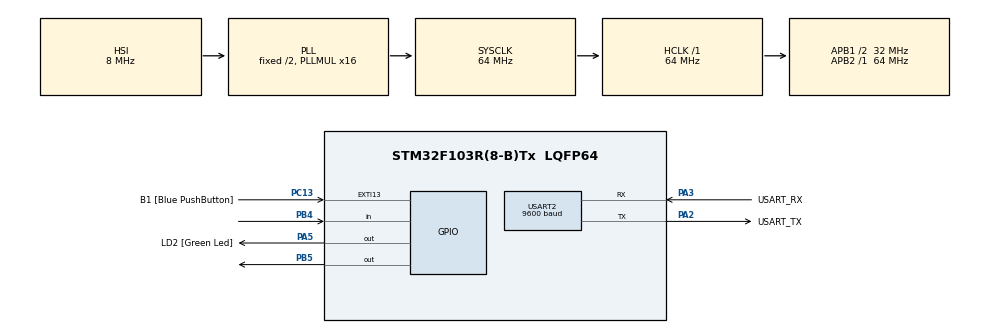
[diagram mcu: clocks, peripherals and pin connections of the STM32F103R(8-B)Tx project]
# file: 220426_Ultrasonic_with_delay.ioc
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Mcu.Family=STM32F1
Mcu.Name=STM32F103R(8-B)Tx
Mcu.Package=LQFP64
NVIC.EXTI15_10_IRQn=true\:0\:0\:false\:false\:true\:true\:true\:true
NVIC.PriorityGroup=NVIC_PRIORITYGROUP_4
PA13.GPIO_Label=TMS
PA13.Mode=Serial_Wire
PA13.Signal=SYS_JTMS-SWDIO
PA14.GPIO_Label=TCK
PA14.Mode=Serial_Wire
PA14.Signal=SYS_JTCK-SWCLK
PA2.GPIO_Label=USART_TX
PA2.GPIO_Mode=GPIO_MODE_AF_PP
PA2.GPIO_PuPd=GPIO_NOPULL
PA2.GPIO_Speed=GPIO_SPEED_FREQ_LOW
PA2.Mode=Asynchronous
PA2.Signal=USART2_TX
PA3.GPIO_Label=USART_RX
PA3.GPIO_Mode=GPIO_MODE_AF_PP
PA3.GPIO_PuPd=GPIO_NOPULL
PA3.GPIO_Speed=GPIO_SPEED_FREQ_LOW
PA3.Mode=Asynchronous
PA3.Signal=USART2_RX
PA5.GPIO_Label=LD2 [Green Led]
PA5.GPIO_ModeDefaultOutputPP=GPIO_MODE_OUTPUT_PP
PA5.GPIO_PuPd=GPIO_NOPULL
PA5.GPIO_Speed=GPIO_SPEED_FREQ_LOW
PA5.Signal=GPIO_Output
PB3.GPIO_Label=SWO
PB3.Signal=SYS_JTDO-TRACESWO
PB4.Signal=GPIO_Input
PB5.Signal=GPIO_Output
PC13-TAMPER-RTC.GPIO_Label=B1 [Blue PushButton]
PC13-TAMPER-RTC.GPIO_PuPd=GPIO_NOPULL
PC13-TAMPER-RTC.Signal=GPXTI13
PC14-OSC32_IN.Mode=LSE-External-Oscillator
PC14-OSC32_IN.Signal=RCC_OSC32_IN
PC15-OSC32_OUT.Mode=LSE-External-Oscillator
PC15-OSC32_OUT.Signal=RCC_OSC32_OUT
PD0-OSC_IN.Mode=HSE-External-Clock-Source
PD0-OSC_IN.Signal=RCC_OSC_IN
PD1-OSC_OUT.Mode=HSE-External-Clock-Source
PD1-OSC_OUT.Signal=RCC_OSC_OUT
ProjectManager.HeapSize=0x200
ProjectManager.StackSize=0x400
ProjectManager.TargetToolchain=STM32CubeIDE
RCC.AHBFreq_Value=64000000
RCC.APB1CLKDivider=RCC_HCLK_DIV2
RCC.APB1Freq_Value=32000000
RCC.APB1TimFreq_Value=64000000
RCC.APB2Freq_Value=64000000
RCC.APB2TimFreq_Value=64000000
RCC.HCLKFreq_Value=64000000
RCC.PLLMUL=RCC_PLL_MUL16
RCC.RTCClockSelection=RCC_RTCCLKSOURCE_LSE
RCC.SYSCLKFreq_VALUE=64000000
RCC.SYSCLKSource=RCC_SYSCLKSOURCE_PLLCLK
RCC.USBFreq_Value=64000000
TIM2.Channel-Output\ Compare1\ No\ Output=TIM_CHANNEL_1
TIM2.Period=1000-1
TIM2.Prescaler=64
TIM2.Pulse-Output\ Compare1\ No\ Output=500-1
USART2.BaudRate=9600
USART2.VirtualMode=VM_ASYNC
VP_TIM2_VS_no_output1.Mode=Output Compare1 No Output
board=NUCLEO-F103RB

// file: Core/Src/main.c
/* USER CODE BEGIN Header */
/**
  ******************************************************************************
  * @file           : main.c
  * @brief          : Main program body
  ******************************************************************************
  * @attention
  *
  * Copyright (c) 2022 STMicroelectronics.
  * All rights reserved.
  *
  * This software is licensed under terms that can be found in the LICENSE file
  * in the root directory of this software component.
  * If no LICENSE file comes with this software, it is provided AS-IS.
  *
  ******************************************************************************
  */
/* USER CODE END Header */
#include "main.h"

/* USER CODE BEGIN PTD */
#ifdef __GNUC__
/* With GCC, small printf (option LD Linker->Libraries->Small printf
   set to 'Yes') calls __io_putchar() */
#define PUTCHAR_PROTOTYPE int __io_putchar(int ch)
#else
#define PUTCHAR_PROTOTYPE int fputc(int ch, FILE *f)
#endif /* __GNUC__ */
/* USER CODE END PTD */

 TIM_HandleTypeDef htim2;

UART_HandleTypeDef huart2;

void SystemClock_Config(void);
static void MX_GPIO_Init(void);
static void MX_USART2_UART_Init(void);
static void MX_TIM2_Init(void);

/* USER CODE BEGIN 0 */

void delay_us(uint16_t delay){
	__HAL_TIM_SET_COUNTER(&htim2,0);
	// htim2.Instance-> CNT = 0;
	while(__HAL_TIM_GET_COUNTER(&htim2)<delay);
	//while(	htim2.Instance-> CNT <delay);
}

int cnt = 0;

void ultraSonic(uint32_t GPIO_PIN){
	while(HAL_GPIO_ReadPin(GPIOB,GPIO_PIN)==GPIO_PIN_SET)
		cnt++;

	if(HAL_GPIO_ReadPin(GPIOB,GPIO_PIN)==GPIO_PIN_RESET && cnt>0){
		printf("time : %d\r\n",cnt);
		cnt = 0;
	}
}
/* USER CODE END 0 */

int main(void)
{

  /* MCU Configuration--------------------------------------------------------*/

  /* Reset of all peripherals, Initializes the Flash interface and the Systick. */
  HAL_Init();

  /* Configure the system clock */
  SystemClock_Config();

  /* Initialize all configured peripherals */
  MX_GPIO_Init();
  MX_USART2_UART_Init();
  MX_TIM2_Init();
  /* USER CODE BEGIN 2 */
  HAL_TIM_PWM_Start(&htim2, TIM_CHANNEL_1);
  /* USER CODE END 2 */

  /* Infinite loop */
  /* USER CODE BEGIN WHILE */
  while (1)
  {

	  HAL_GPIO_WritePin(GPIOB,GPIO_PIN_5,GPIO_PIN_SET);
	  delay_us(10);
	  HAL_GPIO_WritePin(GPIOB,GPIO_PIN_5,GPIO_PIN_RESET);

	  ultraSonic(GPIO_PIN_4);
    /* USER CODE END WHILE */

  }
}

void SystemClock_Config(void)
{
  RCC_OscInitTypeDef RCC_OscInitStruct = {0};
  RCC_ClkInitTypeDef RCC_ClkInitStruct = {0};

  /** Initializes the RCC Oscillators according to the specified parameters
  * in the RCC_OscInitTypeDef structure.
  */
  RCC_OscInitStruct.OscillatorType = RCC_OSCILLATORTYPE_HSI;
  RCC_OscInitStruct.HSIState = RCC_HSI_ON;
  RCC_OscInitStruct.HSICalibrationValue = RCC_HSICALIBRATION_DEFAULT;
  RCC_OscInitStruct.PLL.PLLState = RCC_PLL_ON;
  RCC_OscInitStruct.PLL.PLLSource = RCC_PLLSOURCE_HSI_DIV2;
  RCC_OscInitStruct.PLL.PLLMUL = RCC_PLL_MUL16;
  if (HAL_RCC_OscConfig(&RCC_OscInitStruct) != HAL_OK)
  {
    Error_Handler();
  }

  /** Initializes the CPU, AHB and APB buses clocks
  */
  RCC_ClkInitStruct.ClockType = RCC_CLOCKTYPE_HCLK|RCC_CLOCKTYPE_SYSCLK
                              |RCC_CLOCKTYPE_PCLK1|RCC_CLOCKTYPE_PCLK2;
  RCC_ClkInitStruct.SYSCLKSource = RCC_SYSCLKSOURCE_PLLCLK;
  RCC_ClkInitStruct.AHBCLKDivider = RCC_SYSCLK_DIV1;
  RCC_ClkInitStruct.APB1CLKDivider = RCC_HCLK_DIV2;
  RCC_ClkInitStruct.APB2CLKDivider = RCC_HCLK_DIV1;

  if (HAL_RCC_ClockConfig(&RCC_ClkInitStruct, FLASH_LATENCY_2) != HAL_OK)
  {
    Error_Handler();
  }
}

static void MX_TIM2_Init(void)
{

  TIM_MasterConfigTypeDef sMasterConfig = {0};
  TIM_OC_InitTypeDef sConfigOC = {0};

  htim2.Instance = TIM2;
  htim2.Init.Prescaler = 64;
  htim2.Init.CounterMode = TIM_COUNTERMODE_UP;
  htim2.Init.Period = 1000-1;
  htim2.Init.ClockDivision = TIM_CLOCKDIVISION_DIV1;
  htim2.Init.AutoReloadPreload = TIM_AUTORELOAD_PRELOAD_DISABLE;
  if (HAL_TIM_OC_Init(&htim2) != HAL_OK)
  {
    Error_Handler();
  }
  sMasterConfig.MasterOutputTrigger = TIM_TRGO_RESET;
  sMasterConfig.MasterSlaveMode = TIM_MASTERSLAVEMODE_DISABLE;
  if (HAL_TIMEx_MasterConfigSynchronization(&htim2, &sMasterConfig) != HAL_OK)
  {
    Error_Handler();
  }
  sConfigOC.OCMode = TIM_OCMODE_TIMING;
  sConfigOC.Pulse = 500-1;
  sConfigOC.OCPolarity = TIM_OCPOLARITY_HIGH;
  sConfigOC.OCFastMode = TIM_OCFAST_DISABLE;
  if (HAL_TIM_OC_ConfigChannel(&htim2, &sConfigOC, TIM_CHANNEL_1) != HAL_OK)
  {
    Error_Handler();
  }

}

static void MX_USART2_UART_Init(void)
{

  huart2.Instance = USART2;
  huart2.Init.BaudRate = 9600;
  huart2.Init.WordLength = UART_WORDLENGTH_8B;
  huart2.Init.StopBits = UART_STOPBITS_1;
  huart2.Init.Parity = UART_PARITY_NONE;
  huart2.Init.Mode = UART_MODE_TX_RX;
  huart2.Init.HwFlowCtl = UART_HWCONTROL_NONE;
  huart2.Init.OverSampling = UART_OVERSAMPLING_16;
  if (HAL_UART_Init(&huart2) != HAL_OK)
  {
    Error_Handler();
  }

}

static void MX_GPIO_Init(void)
{
  GPIO_InitTypeDef GPIO_InitStruct = {0};

  /* GPIO Ports Clock Enable */
  __HAL_RCC_GPIOC_CLK_ENABLE();
  __HAL_RCC_GPIOD_CLK_ENABLE();
  __HAL_RCC_GPIOA_CLK_ENABLE();
  __HAL_RCC_GPIOB_CLK_ENABLE();

  /*Configure GPIO pin Output Level */
  HAL_GPIO_WritePin(LD2_GPIO_Port, LD2_Pin, GPIO_PIN_RESET);

  /*Configure GPIO pin Output Level */
  HAL_GPIO_WritePin(GPIOB, GPIO_PIN_5, GPIO_PIN_RESET);

  /*Configure GPIO pin : B1_Pin */
  GPIO_InitStruct.Pin = B1_Pin;
  GPIO_InitStruct.Mode = GPIO_MODE_IT_RISING;
  GPIO_InitStruct.Pull = GPIO_NOPULL;
  HAL_GPIO_Init(B1_GPIO_Port, &GPIO_InitStruct);

  /*Configure GPIO pin : LD2_Pin */
  GPIO_InitStruct.Pin = LD2_Pin;
  GPIO_InitStruct.Mode = GPIO_MODE_OUTPUT_PP;
  GPIO_InitStruct.Pull = GPIO_NOPULL;
  GPIO_InitStruct.Speed = GPIO_SPEED_FREQ_LOW;
  HAL_GPIO_Init(LD2_GPIO_Port, &GPIO_InitStruct);

  /*Configure GPIO pin : PB4 */
  GPIO_InitStruct.Pin = GPIO_PIN_4;
  GPIO_InitStruct.Mode = GPIO_MODE_INPUT;
  GPIO_InitStruct.Pull = GPIO_NOPULL;
  HAL_GPIO_Init(GPIOB, &GPIO_InitStruct);

  /*Configure GPIO pin : PB5 */
  GPIO_InitStruct.Pin = GPIO_PIN_5;
  GPIO_InitStruct.Mode = GPIO_MODE_OUTPUT_PP;
  GPIO_InitStruct.Pull = GPIO_NOPULL;
  GPIO_InitStruct.Speed = GPIO_SPEED_FREQ_LOW;
  HAL_GPIO_Init(GPIOB, &GPIO_InitStruct);

  /* EXTI interrupt init*/
  HAL_NVIC_SetPriority(EXTI15_10_IRQn, 0, 0);
  HAL_NVIC_EnableIRQ(EXTI15_10_IRQn);

}

/* USER CODE BEGIN 4 */
PUTCHAR_PROTOTYPE
{
  /* Place your implementation of fputc here */
  /* e.g. write a character to the USART1 and Loop until the end of transmission */
  HAL_UART_Transmit(&huart2,(uint8_t *)&ch, 1, 0xFFFF);

  return ch;
}
/* USER CODE END 4 */

void Error_Handler(void)
{
  __disable_irq();
  while (1)
  {
  }
}
